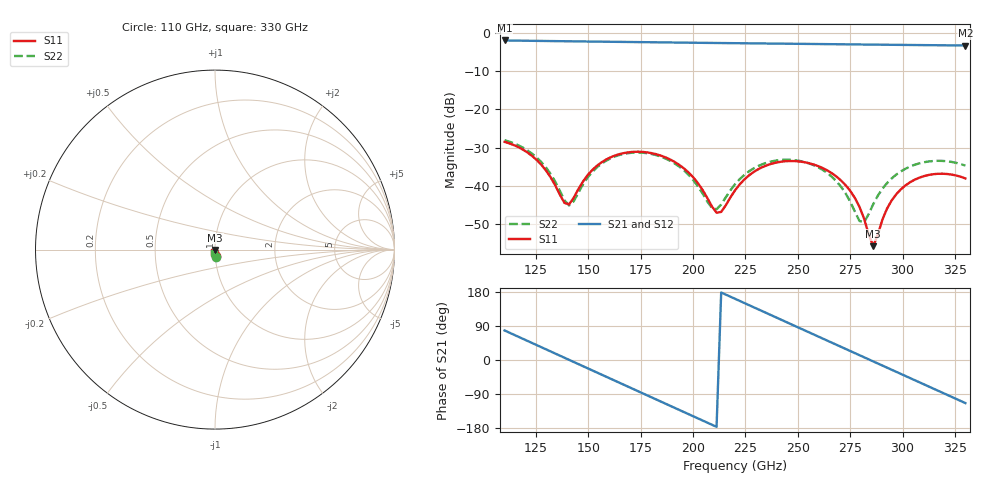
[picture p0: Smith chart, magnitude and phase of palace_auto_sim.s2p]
#  GHZ S DB R 50
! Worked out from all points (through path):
!   101 points, 110 GHz to 330 GHz, reference 50 ohm
!   highest |S21| = -2.04 dB at 110 GHz (marker M1); lowest = -3.4 dB at 330 GHz (marker M2)
!   group delay of S21, straight-line fit = 6.96 ps
!   lowest |S11| = -55.7 dB at 286 GHz (marker M3), VSWR 1.00, Z = 50 - j0.164 ohm
!   |S11| at or under -10 dB: start of sweep to end of sweep
!   |S22| runs from -49.5 to -28.1 dB; largest |S21 - S12| = 8.8e-14
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110  -28.48 -82.0  -2.04 77.9  -2.04 77.9  -28.05 -82.9
127.6  -34.48 -113.9  -2.16 33.6  -2.16 33.6  -33.79 -115.9
138.6  -44.39 -87.1  -2.24 5.9  -2.24 5.9  -43.72 -98.8
140.8  -44.75 -61.6  -2.25 0.4  -2.25 0.4  -45.06 -74.5
147.4  -38.82 -27.9  -2.30 -16.2  -2.30 -16.2  -39.58 -30.6
156.2  -33.84 -35.1  -2.35 -38.3  -2.35 -38.3  -34.19 -35.6
167.2  -31.36 -56.2  -2.42 -66.0  -2.42 -66.0  -31.58 -56.2
184.8  -32.09 -93.7  -2.53 -110.2  -2.53 -110.2  -32.37 -92.9
198  -36.55 -117.4  -2.62 -143.3  -2.62 -143.3  -37.15 -114.3
209  -45.32 -105.8  -2.69 -170.9  -2.69 -170.9  -45.72 -88.3
213.4  -46.74 -63.9  -2.71 178.1  -2.71 178.1  -44.80 -49.5
220  -41.13 -36.0  -2.75 161.6  -2.75 161.6  -39.54 -33.5
228.8  -36.36 -43.2  -2.80 139.5  -2.80 139.5  -35.42 -42.6
239.8  -33.86 -64.3  -2.86 111.9  -2.86 111.9  -33.32 -63.4
257.4  -34.35 -103.2  -2.96 67.8  -2.96 67.8  -34.52 -100.1
270.6  -38.53 -131.5  -3.03 34.8  -3.03 34.8  -40.16 -121.3
279.4  -45.37 -143.0  -3.08 12.8  -3.08 12.8  -49.07 -93.2
281.6  -48.44 -140.3  -3.10 7.3  -3.10 7.3  -49.48 -63.8
286  -55.66 -86.5  -3.12 -3.7  -3.12 -3.7  -44.71 -31.5
294.8  -43.74 -33.0  -3.17 -25.7  -3.17 -25.7  -38.00 -33.2
310.2  -37.40 -62.7  -3.25 -64.2  -3.25 -64.2  -33.79 -63.4
330  -38.00 -109.6  -3.35 -113.7  -3.35 -113.7  -34.67 -107.5
